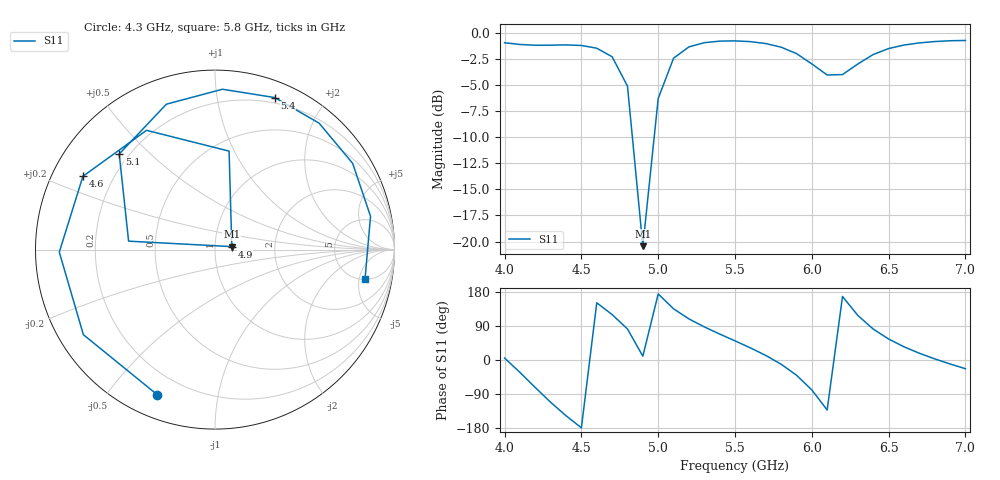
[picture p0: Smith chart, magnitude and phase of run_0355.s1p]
! Touchstone file exported from HFSS 2024.2.0
!  File:  C:/Users/wsak9/Desktop/Sim Fast/Widenad Patch/WP_AI_V1_sweep.aedt
!  Generated:  06:06:09 AM Oct 14, 2026
!  Design:  A1_model
!  Project:  WP_AI_V1_sweep
!  Setup:  Setup1
!  Solution:  Sweep
! Variables:
!  Air_gap = 2.81mm
!  Curve_Amp1 = 3.3
!  Curve_len1 = 1
!  Curve_pos = 11.77mm
!  Extra = 2.07mm
!  H_sub = 0.79mm
!  L_Patch = 19.54mm
!  L_Patch1 = 11.33mm
!  Sx = 4.65mm
!  Sy = 2.25mm
!  WS = 1.08mm
!  W_Patch = 19.42mm
!  W_Patch1 = 9.26mm
!Data is not renormalized
# GHz S MA
! Terminal data exported
! Port[1] = 1
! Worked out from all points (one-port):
!   31 points, 4 GHz to 7 GHz, reference per port
!   lowest |S11| = -20.4 dB at 4.9 GHz (marker M1), VSWR 1.21
!   |S11| at or under -10 dB: 4.832 GHz to 4.974 GHz (142 MHz wide, 2.9 % of centre)
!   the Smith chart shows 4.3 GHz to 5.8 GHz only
!   S11 on the Smith chart (normalised r, x): 4.3 GHz: 0.10, -0.67; 4.6 GHz: 0.09, +0.26; 4.9 GHz: 1.21, +0.04; 5.1 GHz: 0.16, +0.40; 5.4 GHz: 0.15, +1.46; 5.8 GHz: 5.11, -6.09
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4  0.8938 5.0
4.1  0.8773 -32.8
4.2  0.8695 -72.8
4.3  0.8705 -111.6
4.4  0.8731 -147.1
4.5  0.8676 -179.1
4.6  0.8416 151.0
4.7  0.7663 119.9
4.8  0.5542 81.9
4.9  0.0951 10.1
5  0.4837 174.4
5.1  0.754 135.0
5.2  0.8543 108.5
5.3  0.8944 87.3
5.4  0.9101 68.6
5.5  0.9126 50.5
5.7  0.8862 12.1
5.8  0.8517 -11.1
5.9  0.7936 -40.0
6  0.708 -78.8
6.1  0.6269 -131.9
6.2  0.6296 167.6
6.3  0.7077 117.5
6.4  0.7854 81.6
6.5  0.8385 55.4
6.7  0.8925 17.9
6.8  0.9059 3.0
7  0.9168 -23.0
